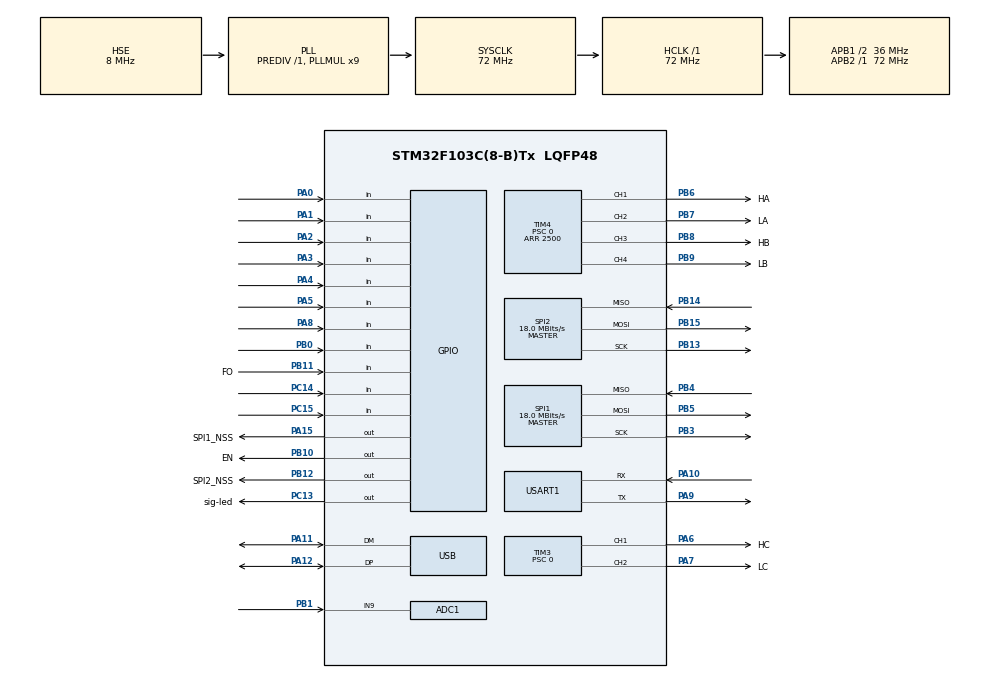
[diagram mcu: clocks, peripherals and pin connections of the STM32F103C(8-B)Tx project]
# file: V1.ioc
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ADC1.Channel-2\#ChannelRegularConversion=ADC_CHANNEL_9
ADC1.ContinuousConvMode=ENABLE
ADC1.NbrOfConversionFlag=1
ADC1.Rank-2\#ChannelRegularConversion=1
ADC1.SamplingTime-2\#ChannelRegularConversion=ADC_SAMPLETIME_1CYCLE_5
ADC1.master=1
Dma.ADC1.0.Direction=DMA_PERIPH_TO_MEMORY
Dma.ADC1.0.Instance=DMA1_Channel1
Dma.ADC1.0.MemDataAlignment=DMA_MDATAALIGN_HALFWORD
Dma.ADC1.0.MemInc=DMA_MINC_ENABLE
Dma.ADC1.0.Mode=DMA_CIRCULAR
Dma.ADC1.0.PeriphDataAlignment=DMA_PDATAALIGN_HALFWORD
Dma.ADC1.0.PeriphInc=DMA_PINC_DISABLE
Dma.ADC1.0.Priority=DMA_PRIORITY_LOW
Dma.Request0=ADC1
Dma.Request1=USART1_TX
Dma.Request2=USART1_RX
Dma.USART1_RX.2.Direction=DMA_PERIPH_TO_MEMORY
Dma.USART1_RX.2.Instance=DMA1_Channel5
Dma.USART1_RX.2.MemDataAlignment=DMA_MDATAALIGN_BYTE
Dma.USART1_RX.2.MemInc=DMA_MINC_ENABLE
Dma.USART1_RX.2.Mode=DMA_CIRCULAR
Dma.USART1_RX.2.PeriphDataAlignment=DMA_PDATAALIGN_BYTE
Dma.USART1_RX.2.PeriphInc=DMA_PINC_DISABLE
Dma.USART1_RX.2.Priority=DMA_PRIORITY_LOW
Dma.USART1_TX.1.Direction=DMA_MEMORY_TO_PERIPH
Dma.USART1_TX.1.Instance=DMA1_Channel4
Dma.USART1_TX.1.MemDataAlignment=DMA_MDATAALIGN_BYTE
Dma.USART1_TX.1.MemInc=DMA_MINC_ENABLE
Dma.USART1_TX.1.Mode=DMA_CIRCULAR
Dma.USART1_TX.1.PeriphDataAlignment=DMA_PDATAALIGN_BYTE
Dma.USART1_TX.1.PeriphInc=DMA_PINC_DISABLE
Dma.USART1_TX.1.Priority=DMA_PRIORITY_LOW
Mcu.Family=STM32F1
Mcu.Name=STM32F103C(8-B)Tx
Mcu.Package=LQFP48
NVIC.ADC1_2_IRQn=true\:0\:0\:false\:false\:true\:true\:true\:true
NVIC.DMA1_Channel1_IRQn=true\:0\:0\:false\:false\:true\:false\:true\:true
NVIC.DMA1_Channel4_IRQn=true\:0\:0\:false\:false\:true\:false\:true\:true
NVIC.DMA1_Channel5_IRQn=true\:0\:0\:false\:false\:true\:false\:true\:true
NVIC.PriorityGroup=NVIC_PRIORITYGROUP_4
NVIC.TIM1_UP_IRQn=true\:0\:0\:false\:false\:true\:true\:true\:true
NVIC.TIM2_IRQn=true\:0\:0\:false\:false\:true\:true\:true\:true
NVIC.USART1_IRQn=true\:0\:0\:false\:false\:true\:true\:true\:true
PA0-WKUP.Signal=GPIO_Input
PA1.Signal=GPIO_Input
PA10.Mode=Asynchronous
PA10.Signal=USART1_RX
PA11.Mode=Device
PA11.Signal=USB_DM
PA12.Mode=Device
PA12.Signal=USB_DP
PA13.Mode=Serial_Wire
PA13.Signal=SYS_JTMS-SWDIO
PA14.Mode=Serial_Wire
PA14.Signal=SYS_JTCK-SWCLK
PA15.GPIO_Label=SPI1_NSS
PA15.Signal=GPIO_Output
PA2.Signal=GPIO_Input
PA3.Signal=GPIO_Input
PA4.Signal=GPIO_Input
PA5.Signal=GPIO_Input
PA6.GPIO_Label=HC
PA6.GPIO_Speed=GPIO_SPEED_FREQ_HIGH
PA6.Signal=S_TIM3_CH1
PA7.GPIO_Label=LC
PA7.GPIO_Speed=GPIO_SPEED_FREQ_HIGH
PA7.Signal=S_TIM3_CH2
PA8.Signal=GPIO_Input
PA9.Mode=Asynchronous
PA9.Signal=USART1_TX
PB0.Signal=GPIO_Input
PB1.Signal=ADCx_IN9
PB10.GPIO_Label=EN
PB10.Signal=GPIO_Output
PB11.GPIO_Label=FO
PB11.GPIO_PuPd=GPIO_PULLUP
PB11.Signal=GPIO_Input
PB12.GPIO_Label=SPI2_NSS
PB12.Signal=GPIO_Output
PB13.Mode=Full_Duplex_Master
PB13.Signal=SPI2_SCK
PB14.Mode=Full_Duplex_Master
PB14.Signal=SPI2_MISO
PB15.Mode=Full_Duplex_Master
PB15.Signal=SPI2_MOSI
PB3.Mode=Full_Duplex_Master
PB3.Signal=SPI1_SCK
PB4.Mode=Full_Duplex_Master
PB4.Signal=SPI1_MISO
PB5.Mode=Full_Duplex_Master
PB5.Signal=SPI1_MOSI
PB6.GPIO_Label=HA
PB6.GPIO_Speed=GPIO_SPEED_FREQ_HIGH
PB6.Signal=S_TIM4_CH1
PB7.GPIO_Label=LA
PB7.GPIO_Speed=GPIO_SPEED_FREQ_HIGH
PB7.Signal=S_TIM4_CH2
PB8.GPIO_Label=HB
PB8.GPIO_Speed=GPIO_SPEED_FREQ_HIGH
PB8.Signal=S_TIM4_CH3
PB9.GPIO_Label=LB
PB9.GPIO_Speed=GPIO_SPEED_FREQ_HIGH
PB9.Signal=S_TIM4_CH4
PC13-TAMPER-RTC.GPIO_Label=sig-led
PC13-TAMPER-RTC.Signal=GPIO_Output
PC14-OSC32_IN.Signal=GPIO_Input
PC15-OSC32_OUT.Signal=GPIO_Input
PD0-OSC_IN.Mode=HSE-External-Oscillator
PD0-OSC_IN.Signal=RCC_OSC_IN
PD1-OSC_OUT.Mode=HSE-External-Oscillator
PD1-OSC_OUT.Signal=RCC_OSC_OUT
ProjectManager.HeapSize=0x200
ProjectManager.StackSize=0x400
ProjectManager.TargetToolchain=MDK-ARM V5
RCC.ADCPresc=RCC_ADCPCLK2_DIV6
RCC.AHBFreq_Value=72000000
RCC.APB1CLKDivider=RCC_HCLK_DIV2
RCC.APB1Freq_Value=36000000
RCC.APB1TimFreq_Value=72000000
RCC.APB2Freq_Value=72000000
RCC.APB2TimFreq_Value=72000000
RCC.HCLKFreq_Value=72000000
RCC.PLLMUL=RCC_PLL_MUL9
RCC.PLLSourceVirtual=RCC_PLLSOURCE_HSE
RCC.SYSCLKFreq_VALUE=72000000
RCC.SYSCLKSource=RCC_SYSCLKSOURCE_PLLCLK
RCC.USBFreq_Value=48000000
RCC.USBPrescaler=RCC_USBCLKSOURCE_PLL_DIV1_5
SH.ADCx_IN9.0=ADC2_IN9
SH.ADCx_IN9.1=ADC1_IN9,IN9
SH.S_TIM3_CH1.0=TIM3_CH1,PWM Generation1 CH1
SH.S_TIM3_CH2.0=TIM3_CH2,PWM Generation2 CH2
SH.S_TIM4_CH1.0=TIM4_CH1,PWM Generation1 CH1
SH.S_TIM4_CH2.0=TIM4_CH2,PWM Generation2 CH2
SH.S_TIM4_CH3.0=TIM4_CH3,PWM Generation3 CH3
SH.S_TIM4_CH4.0=TIM4_CH4,PWM Generation4 CH4
SPI1.BaudRatePrescaler=SPI_BAUDRATEPRESCALER_4
SPI1.CLKPhase=SPI_PHASE_2EDGE
SPI1.CalculateBaudRate=18.0 MBits/s
SPI1.DataSize=SPI_DATASIZE_16BIT
SPI1.Direction=SPI_DIRECTION_2LINES
SPI1.Mode=SPI_MODE_MASTER
SPI1.VirtualType=VM_MASTER
SPI2.BaudRatePrescaler=SPI_BAUDRATEPRESCALER_2
SPI2.CLKPhase=SPI_PHASE_2EDGE
SPI2.CRCCalculation=SPI_CRCCALCULATION_DISABLE
SPI2.CalculateBaudRate=18.0 MBits/s
SPI2.DataSize=SPI_DATASIZE_16BIT
SPI2.Direction=SPI_DIRECTION_2LINES
SPI2.Mode=SPI_MODE_MASTER
SPI2.VirtualType=VM_MASTER
TIM1.Period=3600
TIM1.Prescaler=10000
TIM2.Period=7200
TIM2.Prescaler=0
TIM3.Channel-PWM\ Generation1\ CH1=TIM_CHANNEL_1
TIM3.Channel-PWM\ Generation2\ CH2=TIM_CHANNEL_2
TIM3.CounterMode=TIM_COUNTERMODE_CENTERALIGNED1
TIM3.OCPolarity_1=TIM_OCPOLARITY_LOW
TIM3.OCPolarity_2=TIM_OCPOLARITY_HIGH
TIM3.Period=2500
TIM3.Prescaler=0
TIM4.Channel-PWM\ Generation1\ CH1=TIM_CHANNEL_1
TIM4.Channel-PWM\ Generation2\ CH2=TIM_CHANNEL_2
TIM4.Channel-PWM\ Generation3\ CH3=TIM_CHANNEL_3
TIM4.Channel-PWM\ Generation4\ CH4=TIM_CHANNEL_4
TIM4.CounterMode=TIM_COUNTERMODE_CENTERALIGNED1
TIM4.OCPolarity_1=TIM_OCPOLARITY_LOW
TIM4.OCPolarity_2=TIM_OCPOLARITY_HIGH
TIM4.OCPolarity_3=TIM_OCPOLARITY_LOW
TIM4.OCPolarity_4=TIM_OCPOLARITY_HIGH
TIM4.Period=2500
TIM4.Prescaler=0
USART1.VirtualMode=VM_ASYNC
VP_TIM1_VS_ClockSourceINT.Mode=Internal
VP_TIM2_VS_ClockSourceINT.Mode=Internal
VP_TIM3_VS_ClockSourceINT.Mode=Internal
VP_TIM4_VS_ClockSourceINT.Mode=Internal
board=driver 3 phase

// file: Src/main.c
/* USER CODE BEGIN Header */
/**
  ******************************************************************************
  * @file           : main.c
  * @brief          : Main program body
  ******************************************************************************
  * @attention
  *
  * Copyright (c) 2022 STMicroelectronics.
  * All rights reserved.
  *
  * This software is licensed under terms that can be found in the LICENSE file
  * in the root directory of this software component.
  * If no LICENSE file comes with this software, it is provided AS-IS.
  *
  ******************************************************************************
  */
/* USER CODE END Header */
#include "main.h"

/* USER CODE BEGIN Includes */

#include "AS5047D.h"
#include "BLDC_Control.h"
#include "flash.h"
/* USER CODE END Includes */

 ADC_HandleTypeDef hadc1;
DMA_HandleTypeDef hdma_adc1;

SPI_HandleTypeDef hspi1;
SPI_HandleTypeDef hspi2;

TIM_HandleTypeDef htim1;
TIM_HandleTypeDef htim2;
TIM_HandleTypeDef htim3;
TIM_HandleTypeDef htim4;

UART_HandleTypeDef huart1;
DMA_HandleTypeDef hdma_usart1_tx;
DMA_HandleTypeDef hdma_usart1_rx;

PCD_HandleTypeDef hpcd_USB_FS;

/* USER CODE BEGIN PV */

AS5047D_Handler Mag_ss = {0};
BLDC_Handler bldc = {0};

uint32_t timeCap[10]= {0};

uint16_t maxAdcVal = 0;

uint8_t rxData[30] = "";
char txData[30] = "";

volatile float setAngle=0;

uint16_t adcVal = 0;

Poles tmp;

/* USER CODE END PV */

void SystemClock_Config(void);
static void MX_GPIO_Init(void);
static void MX_TIM3_Init(void);
static void MX_TIM4_Init(void);
static void MX_ADC1_Init(void);
static void MX_SPI1_Init(void);
static void MX_SPI2_Init(void);
static void MX_USART1_UART_Init(void);
static void MX_DMA_Init(void);
static void MX_USB_PCD_Init(void);
static void MX_TIM2_Init(void);
static void MX_TIM1_Init(void);
/* USER CODE BEGIN PFP */

static void Mag_Init(void);
static void BLDC_Init(void);
/* USER CODE END PFP */

/* USER CODE BEGIN 0 */
void LED_ON(){HAL_GPIO_WritePin(sig_led_GPIO_Port, sig_led_Pin,GPIO_PIN_RESET);}
void LED_OFF(){HAL_GPIO_WritePin(sig_led_GPIO_Port, sig_led_Pin,GPIO_PIN_SET);}
/* USER CODE END 0 */

int main(void)
{

  /* MCU Configuration--------------------------------------------------------*/

  /* Reset of all peripherals, Initializes the Flash interface and the Systick. */
  HAL_Init();

  /* Configure the system clock */
  SystemClock_Config();

  /* Initialize all configured peripherals */
  MX_GPIO_Init();
  MX_TIM3_Init();
  MX_TIM4_Init();
  MX_ADC1_Init();
  MX_SPI1_Init();
  MX_SPI2_Init();
  MX_USART1_UART_Init();
  MX_DMA_Init();
  MX_USB_PCD_Init();
  MX_TIM2_Init();
  MX_TIM1_Init();
  /* USER CODE BEGIN 2 */
	LED_OFF();

//	HAL_TIM_Base_Start_IT(&htim1);
  Mag_Init();
	BLDC_Init();
	HAL_TIM_Base_Start_IT(&htim1);
	HAL_TIM_Base_Start_IT(&htim2);

  /* USER CODE END 2 */

  /* Infinite loop */
  /* USER CODE BEGIN WHILE */

//	Calibration(&bldc);

//	tmp.baseAngle = 37.0;
//	tmp.numOfPoles = 7;
//	SaveParams(AddrPage127,(uint32_t)(&tmp),sizeof(tmp));

	HAL_Delay(1);

	setAngle = bldc.magAngleRaw;

	LED_ON();
//	uint16_t i = 0;
//	TIM2->CNT = 0;

	uint32_t preTime = HAL_GetTick();

//	SVPWMcalc(&bldc);
  while (1)
  {

		if(HAL_GetTick() - preTime > bldc.pid.Params.SampleTime)
		{

			PID_Compute(&bldc.pid);

		}

//		if (i<9)
//		{
//			timeCap[i]  = TIM2->CNT;
//			i++;
//			TIM2->CNT = 0;
//		}
    /* USER CODE END WHILE */

    /* USER CODE BEGIN 3 */
  }

	DriverStop(&bldc.HDriver_);
	LED_OFF();
	while(1){
			LED_ON();
			HAL_Delay(500);
			LED_OFF();
			HAL_Delay(500);

	}
  /* USER CODE END 3 */
}

void SystemClock_Config(void)
{
  RCC_OscInitTypeDef RCC_OscInitStruct = {0};
  RCC_ClkInitTypeDef RCC_ClkInitStruct = {0};
  RCC_PeriphCLKInitTypeDef PeriphClkInit = {0};

  /** Initializes the RCC Oscillators according to the specified parameters
  * in the RCC_OscInitTypeDef structure.
  */
  RCC_OscInitStruct.OscillatorType = RCC_OSCILLATORTYPE_HSE;
  RCC_OscInitStruct.HSEState = RCC_HSE_ON;
  RCC_OscInitStruct.HSEPredivValue = RCC_HSE_PREDIV_DIV1;
  RCC_OscInitStruct.HSIState = RCC_HSI_ON;
  RCC_OscInitStruct.PLL.PLLState = RCC_PLL_ON;
  RCC_OscInitStruct.PLL.PLLSource = RCC_PLLSOURCE_HSE;
  RCC_OscInitStruct.PLL.PLLMUL = RCC_PLL_MUL9;
  if (HAL_RCC_OscConfig(&RCC_OscInitStruct) != HAL_OK)
  {
    Error_Handler();
  }

  /** Initializes the CPU, AHB and APB buses clocks
  */
  RCC_ClkInitStruct.ClockType = RCC_CLOCKTYPE_HCLK|RCC_CLOCKTYPE_SYSCLK
                              |RCC_CLOCKTYPE_PCLK1|RCC_CLOCKTYPE_PCLK2;
  RCC_ClkInitStruct.SYSCLKSource = RCC_SYSCLKSOURCE_PLLCLK;
  RCC_ClkInitStruct.AHBCLKDivider = RCC_SYSCLK_DIV1;
  RCC_ClkInitStruct.APB1CLKDivider = RCC_HCLK_DIV2;
  RCC_ClkInitStruct.APB2CLKDivider = RCC_HCLK_DIV1;

  if (HAL_RCC_ClockConfig(&RCC_ClkInitStruct, FLASH_LATENCY_2) != HAL_OK)
  {
    Error_Handler();
  }
  PeriphClkInit.PeriphClockSelection = RCC_PERIPHCLK_ADC|RCC_PERIPHCLK_USB;
  PeriphClkInit.AdcClockSelection = RCC_ADCPCLK2_DIV6;
  PeriphClkInit.UsbClockSelection = RCC_USBCLKSOURCE_PLL_DIV1_5;
  if (HAL_RCCEx_PeriphCLKConfig(&PeriphClkInit) != HAL_OK)
  {
    Error_Handler();
  }
}

static void MX_ADC1_Init(void)
{

  ADC_ChannelConfTypeDef sConfig = {0};

  /** Common config
  */
  hadc1.Instance = ADC1;
  hadc1.Init.ScanConvMode = ADC_SCAN_DISABLE;
  hadc1.Init.ContinuousConvMode = ENABLE;
  hadc1.Init.DiscontinuousConvMode = DISABLE;
  hadc1.Init.ExternalTrigConv = ADC_SOFTWARE_START;
  hadc1.Init.DataAlign = ADC_DATAALIGN_RIGHT;
  hadc1.Init.NbrOfConversion = 1;
  if (HAL_ADC_Init(&hadc1) != HAL_OK)
  {
    Error_Handler();
  }

  /** Configure Regular Channel
  */
  sConfig.Channel = ADC_CHANNEL_9;
  sConfig.Rank = ADC_REGULAR_RANK_1;
  sConfig.SamplingTime = ADC_SAMPLETIME_1CYCLE_5;
  if (HAL_ADC_ConfigChannel(&hadc1, &sConfig) != HAL_OK)
  {
    Error_Handler();
  }

}

static void MX_SPI1_Init(void)
{

  /* SPI1 parameter configuration*/
  hspi1.Instance = SPI1;
  hspi1.Init.Mode = SPI_MODE_MASTER;
  hspi1.Init.Direction = SPI_DIRECTION_2LINES;
  hspi1.Init.DataSize = SPI_DATASIZE_16BIT;
  hspi1.Init.CLKPolarity = SPI_POLARITY_LOW;
  hspi1.Init.CLKPhase = SPI_PHASE_2EDGE;
  hspi1.Init.NSS = SPI_NSS_SOFT;
  hspi1.Init.BaudRatePrescaler = SPI_BAUDRATEPRESCALER_4;
  hspi1.Init.FirstBit = SPI_FIRSTBIT_MSB;
  hspi1.Init.TIMode = SPI_TIMODE_DISABLE;
  hspi1.Init.CRCCalculation = SPI_CRCCALCULATION_DISABLE;
  hspi1.Init.CRCPolynomial = 10;
  if (HAL_SPI_Init(&hspi1) != HAL_OK)
  {
    Error_Handler();
  }

}

static void MX_SPI2_Init(void)
{

  /* SPI2 parameter configuration*/
  hspi2.Instance = SPI2;
  hspi2.Init.Mode = SPI_MODE_MASTER;
  hspi2.Init.Direction = SPI_DIRECTION_2LINES;
  hspi2.Init.DataSize = SPI_DATASIZE_16BIT;
  hspi2.Init.CLKPolarity = SPI_POLARITY_LOW;
  hspi2.Init.CLKPhase = SPI_PHASE_2EDGE;
  hspi2.Init.NSS = SPI_NSS_SOFT;
  hspi2.Init.BaudRatePrescaler = SPI_BAUDRATEPRESCALER_2;
  hspi2.Init.FirstBit = SPI_FIRSTBIT_MSB;
  hspi2.Init.TIMode = SPI_TIMODE_DISABLE;
  hspi2.Init.CRCCalculation = SPI_CRCCALCULATION_DISABLE;
  hspi2.Init.CRCPolynomial = 10;
  if (HAL_SPI_Init(&hspi2) != HAL_OK)
  {
    Error_Handler();
  }

}

static void MX_TIM1_Init(void)
{

  TIM_ClockConfigTypeDef sClockSourceConfig = {0};
  TIM_MasterConfigTypeDef sMasterConfig = {0};

  htim1.Instance = TIM1;
  htim1.Init.Prescaler = 10000;
  htim1.Init.CounterMode = TIM_COUNTERMODE_UP;
  htim1.Init.Period = 3600;
  htim1.Init.ClockDivision = TIM_CLOCKDIVISION_DIV1;
  htim1.Init.RepetitionCounter = 0;
  htim1.Init.AutoReloadPreload = TIM_AUTORELOAD_PRELOAD_DISABLE;
  if (HAL_TIM_Base_Init(&htim1) != HAL_OK)
  {
    Error_Handler();
  }
  sClockSourceConfig.ClockSource = TIM_CLOCKSOURCE_INTERNAL;
  if (HAL_TIM_ConfigClockSource(&htim1, &sClockSourceConfig) != HAL_OK)
  {
    Error_Handler();
  }
  sMasterConfig.MasterOutputTrigger = TIM_TRGO_RESET;
  sMasterConfig.MasterSlaveMode = TIM_MASTERSLAVEMODE_DISABLE;
  if (HAL_TIMEx_MasterConfigSynchronization(&htim1, &sMasterConfig) != HAL_OK)
  {
    Error_Handler();
  }

}

static void MX_TIM2_Init(void)
{

  TIM_ClockConfigTypeDef sClockSourceConfig = {0};
  TIM_MasterConfigTypeDef sMasterConfig = {0};

  htim2.Instance = TIM2;
  htim2.Init.Prescaler = 0;
  htim2.Init.CounterMode = TIM_COUNTERMODE_UP;
  htim2.Init.Period = 7200;
  htim2.Init.ClockDivision = TIM_CLOCKDIVISION_DIV1;
  htim2.Init.AutoReloadPreload = TIM_AUTORELOAD_PRELOAD_DISABLE;
  if (HAL_TIM_Base_Init(&htim2) != HAL_OK)
  {
    Error_Handler();
  }
  sClockSourceConfig.ClockSource = TIM_CLOCKSOURCE_INTERNAL;
  if (HAL_TIM_ConfigClockSource(&htim2, &sClockSourceConfig) != HAL_OK)
  {
    Error_Handler();
  }
  sMasterConfig.MasterOutputTrigger = TIM_TRGO_RESET;
  sMasterConfig.MasterSlaveMode = TIM_MASTERSLAVEMODE_DISABLE;
  if (HAL_TIMEx_MasterConfigSynchronization(&htim2, &sMasterConfig) != HAL_OK)
  {
    Error_Handler();
  }

}

static void MX_TIM3_Init(void)
{

  TIM_ClockConfigTypeDef sClockSourceConfig = {0};
  TIM_MasterConfigTypeDef sMasterConfig = {0};
  TIM_OC_InitTypeDef sConfigOC = {0};

  htim3.Instance = TIM3;
  htim3.Init.Prescaler = 0;
  htim3.Init.CounterMode = TIM_COUNTERMODE_CENTERALIGNED1;
  htim3.Init.Period = 2500;
  htim3.Init.ClockDivision = TIM_CLOCKDIVISION_DIV1;
  htim3.Init.AutoReloadPreload = TIM_AUTORELOAD_PRELOAD_DISABLE;
  if (HAL_TIM_Base_Init(&htim3) != HAL_OK)
  {
    Error_Handler();
  }
  sClockSourceConfig.ClockSource = TIM_CLOCKSOURCE_INTERNAL;
  if (HAL_TIM_ConfigClockSource(&htim3, &sClockSourceConfig) != HAL_OK)
  {
    Error_Handler();
  }
  if (HAL_TIM_PWM_Init(&htim3) != HAL_OK)
  {
    Error_Handler();
  }
  sMasterConfig.MasterOutputTrigger = TIM_TRGO_RESET;
  sMasterConfig.MasterSlaveMode = TIM_MASTERSLAVEMODE_DISABLE;
  if (HAL_TIMEx_MasterConfigSynchronization(&htim3, &sMasterConfig) != HAL_OK)
  {
    Error_Handler();
  }
  sConfigOC.OCMode = TIM_OCMODE_PWM1;
  sConfigOC.Pulse = 0;
  sConfigOC.OCPolarity = TIM_OCPOLARITY_LOW;
  sConfigOC.OCFastMode = TIM_OCFAST_DISABLE;
  if (HAL_TIM_PWM_ConfigChannel(&htim3, &sConfigOC, TIM_CHANNEL_1) != HAL_OK)
  {
    Error_Handler();
  }
  sConfigOC.OCPolarity = TIM_OCPOLARITY_HIGH;
  if (HAL_TIM_PWM_ConfigChannel(&htim3, &sConfigOC, TIM_CHANNEL_2) != HAL_OK)
  {
    Error_Handler();
  }
  HAL_TIM_MspPostInit(&htim3);

}

static void MX_TIM4_Init(void)
{

  TIM_ClockConfigTypeDef sClockSourceConfig = {0};
  TIM_MasterConfigTypeDef sMasterConfig = {0};
  TIM_OC_InitTypeDef sConfigOC = {0};

  htim4.Instance = TIM4;
  htim4.Init.Prescaler = 0;
  htim4.Init.CounterMode = TIM_COUNTERMODE_CENTERALIGNED1;
  htim4.Init.Period = 2500;
  htim4.Init.ClockDivision = TIM_CLOCKDIVISION_DIV1;
  htim4.Init.AutoReloadPreload = TIM_AUTORELOAD_PRELOAD_DISABLE;
  if (HAL_TIM_Base_Init(&htim4) != HAL_OK)
  {
    Error_Handler();
  }
  sClockSourceConfig.ClockSource = TIM_CLOCKSOURCE_INTERNAL;
  if (HAL_TIM_ConfigClockSource(&htim4, &sClockSourceConfig) != HAL_OK)
  {
    Error_Handler();
  }
  if (HAL_TIM_PWM_Init(&htim4) != HAL_OK)
  {
    Error_Handler();
  }
  sMasterConfig.MasterOutputTrigger = TIM_TRGO_RESET;
  sMasterConfig.MasterSlaveMode = TIM_MASTERSLAVEMODE_DISABLE;
  if (HAL_TIMEx_MasterConfigSynchronization(&htim4, &sMasterConfig) != HAL_OK)
  {
    Error_Handler();
  }
  sConfigOC.OCMode = TIM_OCMODE_PWM1;
  sConfigOC.Pulse = 0;
  sConfigOC.OCPolarity = TIM_OCPOLARITY_LOW;
  sConfigOC.OCFastMode = TIM_OCFAST_DISABLE;
  if (HAL_TIM_PWM_ConfigChannel(&htim4, &sConfigOC, TIM_CHANNEL_1) != HAL_OK)
  {
    Error_Handler();
  }
  sConfigOC.OCPolarity = TIM_OCPOLARITY_HIGH;
  if (HAL_TIM_PWM_ConfigChannel(&htim4, &sConfigOC, TIM_CHANNEL_2) != HAL_OK)
  {
    Error_Handler();
  }
  sConfigOC.OCPolarity = TIM_OCPOLARITY_LOW;
  if (HAL_TIM_PWM_ConfigChannel(&htim4, &sConfigOC, TIM_CHANNEL_3) != HAL_OK)
  {
    Error_Handler();
  }
  sConfigOC.OCPolarity = TIM_OCPOLARITY_HIGH;
  if (HAL_TIM_PWM_ConfigChannel(&htim4, &sConfigOC, TIM_CHANNEL_4) != HAL_OK)
  {
    Error_Handler();
  }
  HAL_TIM_MspPostInit(&htim4);

}

static void MX_USART1_UART_Init(void)
{

  huart1.Instance = USART1;
  huart1.Init.BaudRate = 115200;
  huart1.Init.WordLength = UART_WORDLENGTH_8B;
  huart1.Init.StopBits = UART_STOPBITS_1;
  huart1.Init.Parity = UART_PARITY_NONE;
  huart1.Init.Mode = UART_MODE_TX_RX;
  huart1.Init.HwFlowCtl = UART_HWCONTROL_NONE;
  huart1.Init.OverSampling = UART_OVERSAMPLING_16;
  if (HAL_UART_Init(&huart1) != HAL_OK)
  {
    Error_Handler();
  }

}

static void MX_USB_PCD_Init(void)
{

  hpcd_USB_FS.Instance = USB;
  hpcd_USB_FS.Init.dev_endpoints = 8;
  hpcd_USB_FS.Init.speed = PCD_SPEED_FULL;
  hpcd_USB_FS.Init.low_power_enable = DISABLE;
  hpcd_USB_FS.Init.lpm_enable = DISABLE;
  hpcd_USB_FS.Init.battery_charging_enable = DISABLE;
  if (HAL_PCD_Init(&hpcd_USB_FS) != HAL_OK)
  {
    Error_Handler();
  }

}

static void MX_DMA_Init(void)
{

  /* DMA controller clock enable */
  __HAL_RCC_DMA1_CLK_ENABLE();

  /* DMA interrupt init */
  /* DMA1_Channel1_IRQn interrupt configuration */
  HAL_NVIC_SetPriority(DMA1_Channel1_IRQn, 0, 0);
  HAL_NVIC_EnableIRQ(DMA1_Channel1_IRQn);
  /* DMA1_Channel4_IRQn interrupt configuration */
  HAL_NVIC_SetPriority(DMA1_Channel4_IRQn, 0, 0);
  HAL_NVIC_EnableIRQ(DMA1_Channel4_IRQn);
  /* DMA1_Channel5_IRQn interrupt configuration */
  HAL_NVIC_SetPriority(DMA1_Channel5_IRQn, 0, 0);
  HAL_NVIC_EnableIRQ(DMA1_Channel5_IRQn);

}

static void MX_GPIO_Init(void)
{
  GPIO_InitTypeDef GPIO_InitStruct = {0};

  /* GPIO Ports Clock Enable */
  __HAL_RCC_GPIOC_CLK_ENABLE();
  __HAL_RCC_GPIOD_CLK_ENABLE();
  __HAL_RCC_GPIOA_CLK_ENABLE();
  __HAL_RCC_GPIOB_CLK_ENABLE();

  /*Configure GPIO pin Output Level */
  HAL_GPIO_WritePin(sig_led_GPIO_Port, sig_led_Pin, GPIO_PIN_RESET);

  /*Configure GPIO pin Output Level */
  HAL_GPIO_WritePin(GPIOB, EN_Pin|SPI2_NSS_Pin, GPIO_PIN_RESET);

  /*Configure GPIO pin Output Level */
  HAL_GPIO_WritePin(SPI1_NSS_GPIO_Port, SPI1_NSS_Pin, GPIO_PIN_RESET);

  /*Configure GPIO pin : sig_led_Pin */
  GPIO_InitStruct.Pin = sig_led_Pin;
  GPIO_InitStruct.Mode = GPIO_MODE_OUTPUT_PP;
  GPIO_InitStruct.Pull = GPIO_NOPULL;
  GPIO_InitStruct.Speed = GPIO_SPEED_FREQ_LOW;
  HAL_GPIO_Init(sig_led_GPIO_Port, &GPIO_InitStruct);

  /*Configure GPIO pins : PC14 PC15 */
  GPIO_InitStruct.Pin = GPIO_PIN_14|GPIO_PIN_15;
  GPIO_InitStruct.Mode = GPIO_MODE_INPUT;
  GPIO_InitStruct.Pull = GPIO_NOPULL;
  HAL_GPIO_Init(GPIOC, &GPIO_InitStruct);

  /*Configure GPIO pins : PA0 PA1 PA2 PA3
                           PA4 PA5 PA8 */
  GPIO_InitStruct.Pin = GPIO_PIN_0|GPIO_PIN_1|GPIO_PIN_2|GPIO_PIN_3
                          |GPIO_PIN_4|GPIO_PIN_5|GPIO_PIN_8;
  GPIO_InitStruct.Mode = GPIO_MODE_INPUT;
  GPIO_InitStruct.Pull = GPIO_NOPULL;
  HAL_GPIO_Init(GPIOA, &GPIO_InitStruct);

  /*Configure GPIO pin : PB0 */
  GPIO_InitStruct.Pin = GPIO_PIN_0;
  GPIO_InitStruct.Mode = GPIO_MODE_INPUT;
  GPIO_InitStruct.Pull = GPIO_NOPULL;
  HAL_GPIO_Init(GPIOB, &GPIO_InitStruct);

  /*Configure GPIO pin : PB1 */
  GPIO_InitStruct.Pin = GPIO_PIN_1;
  GPIO_InitStruct.Mode = GPIO_MODE_ANALOG;
  HAL_GPIO_Init(GPIOB, &GPIO_InitStruct);

  /*Configure GPIO pins : EN_Pin SPI2_NSS_Pin */
  GPIO_InitStruct.Pin = EN_Pin|SPI2_NSS_Pin;
  GPIO_InitStruct.Mode = GPIO_MODE_OUTPUT_PP;
  GPIO_InitStruct.Pull = GPIO_NOPULL;
  GPIO_InitStruct.Speed = GPIO_SPEED_FREQ_LOW;
  HAL_GPIO_Init(GPIOB, &GPIO_InitStruct);

  /*Configure GPIO pin : FO_Pin */
  GPIO_InitStruct.Pin = FO_Pin;
  GPIO_InitStruct.Mode = GPIO_MODE_INPUT;
  GPIO_InitStruct.Pull = GPIO_PULLUP;
  HAL_GPIO_Init(FO_GPIO_Port, &GPIO_InitStruct);

  /*Configure GPIO pin : SPI1_NSS_Pin */
  GPIO_InitStruct.Pin = SPI1_NSS_Pin;
  GPIO_InitStruct.Mode = GPIO_MODE_OUTPUT_PP;
  GPIO_InitStruct.Pull = GPIO_NOPULL;
  GPIO_InitStruct.Speed = GPIO_SPEED_FREQ_LOW;
  HAL_GPIO_Init(SPI1_NSS_GPIO_Port, &GPIO_InitStruct);

}

/* USER CODE BEGIN 4 */
static void Mag_Init(void)
{
	Mag_ss.hspi_Handler = &hspi2;
	Mag_ss.nssPin       = SPI2_NSS_Pin;
	Mag_ss.nssPort      = SPI2_NSS_GPIO_Port;
	AS5047D_Init(&Mag_ss);
}

static void BLDC_Init(void)
{
	bldc.HDriver_.HTIM_AB_Phase = &htim4;
	bldc.HDriver_.HTIM_C_Phase = &htim3;
	bldc.HDriver_.AH = TIM_CHANNEL_1;
	bldc.HDriver_.AL = TIM_CHANNEL_2;
	bldc.HDriver_.BH = TIM_CHANNEL_3;
	bldc.HDriver_.BL = TIM_CHANNEL_4;
	bldc.HDriver_.CH = TIM_CHANNEL_1;
	bldc.HDriver_.CL = TIM_CHANNEL_2;
	bldc.HDriver_.Enable_Port = EN_GPIO_Port;
	bldc.HDriver_.Enable_Pin  = EN_Pin;
	bldc.AS5047D_Handler_ = &Mag_ss;
	bldc.m_vector = 0.02;

	Flash_Read_Obj(AddrPage127,(uint32_t)(&bldc.Poles_),sizeof(bldc.Poles_));
	bldc.interstitialAgle = 360.0/bldc.Poles_.numOfPoles;

	bldc.pid.Params.kp = 0.004;
	bldc.pid.Params.ki = 0.0001;
	bldc.pid.Params.kd = 0.0001;
	bldc.pid.Params.SampleTime = 1;
	bldc.pid.Params.IsFbPositive = 1;
	bldc.pid.Params.outMax = 0.08;
	bldc.pid.Params.outMin = -0.08;
	bldc.pid.setPoint = &setAngle;
	bldc.pid.feedback = &bldc.magAngleRaw;
	bldc.pid.Output = &bldc.m_vector;

	DriverInit(&bldc.HDriver_);
}

void HAL_TIM_PeriodElapsedCallback(TIM_HandleTypeDef *htim)
{
	if(htim->Instance == TIM2){
//		HAL_GPIO_TogglePin(sig_led_GPIO_Port,sig_led_Pin);
		Rotate(&bldc);
//		SVPWMcalc(&bldc);
//		bldc.magAngleRaw = AS5047D_Get_True_Angle_Value(bldc.AS5047D_Handler_);
	}
	if(htim->Instance == TIM1){
		HAL_GPIO_TogglePin(sig_led_GPIO_Port,sig_led_Pin);

	}

}
/* USER CODE END 4 */

void Error_Handler(void)
{
  /* USER CODE BEGIN Error_Handler_Debug */
  /* User can add his own implementation to report the HAL error return state */
  __disable_irq();
  while (1)
  {
			LED_ON();
			HAL_Delay(200);
			LED_OFF();
			HAL_Delay(200);
  }
  /* USER CODE END Error_Handler_Debug */
}
